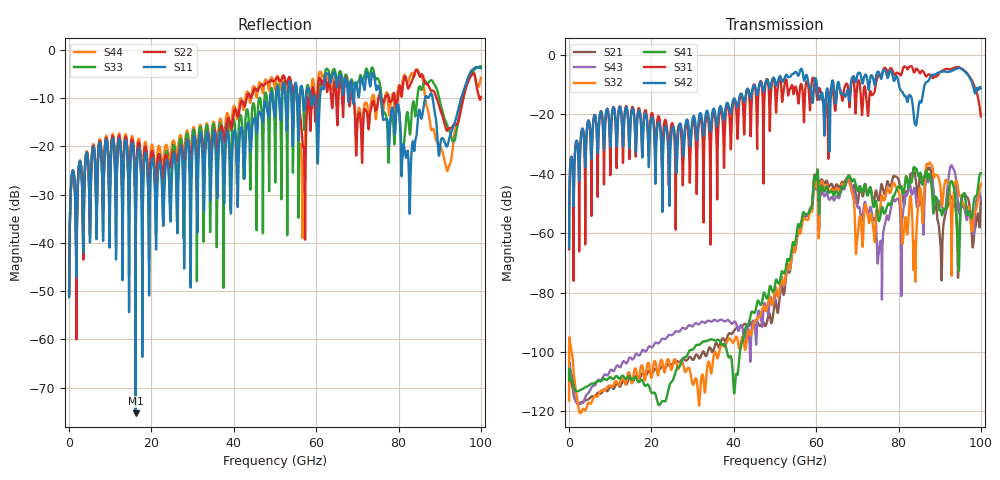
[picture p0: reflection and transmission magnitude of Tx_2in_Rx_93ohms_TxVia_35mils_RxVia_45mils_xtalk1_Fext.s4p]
! Info: Touchstone file created by Circ.  Input file=Tx_2in_Rx_93ohms_TxVia_35mils_RxVia_45mils.circ
# Hz S RI R 50
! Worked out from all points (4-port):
!   10000 points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, 10 MHz to 100 GHz, reference 50 ohm
!   strongest paths, dB at 10 MHz, 25.01 GHz, 50.01 GHz, 75.01 GHz, 100 GHz:
!     S42: -65.0, -25.0, -8.9, -5.6, -11.3
!     S31: -65.4, -22.9, -11.1, -7.2, -20.8
!     S41: -107.5, -109.9, -77.4, -54.9, -39.8
!     S32: -116.3, -105.4, -78.8, -53.4, -43.5
!     S43: -106.9, -94.3, -81.8, -69.6, -48.8
!     S21: -107.7, -104.2, -82.6, -48.5, -48.3
!   lowest |S11| = -75.3 dB at 16.16 GHz (marker M1), VSWR 1.00, Z = 50 + j0.0147 ohm
!   |S11| at or under -10 dB: start of sweep to 48.82 GHz; 75.71 GHz to 86.46 GHz (10.75 GHz wide, 13.3 % of centre); 88.29 GHz to 95.22 GHz (6.93 GHz wide, 7.55 % of centre) (the widest 3 of 13)
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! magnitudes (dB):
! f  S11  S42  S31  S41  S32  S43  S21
! 10 MHz  -51.3  -65.0  -65.4  -107.5  -116.3  -106.9  -107.7
! 16.16 GHz  -75.3  -31.5  -33.3  -108.5  -105.7  -100.7  -108.0
! 50.83 GHz  -8.6  -8.2  -9.3  -76.9  -81.3  -81.2  -85.7
! 59.95 GHz  -11.1  -8.0  -11.5  -42.2  -44.6  -45.3  -42.0
! 83.91 GHz  -20.3  -22.8  -5.8  -38.0  -64.8  -45.0  -39.3
! 94.55 GHz  -12.2  -4.4  -4.1  -69.2  -45.7  -52.5  -68.4
! 100 GHz  -3.8  -11.3  -20.8  -39.8  -43.5  -48.8  -48.3
